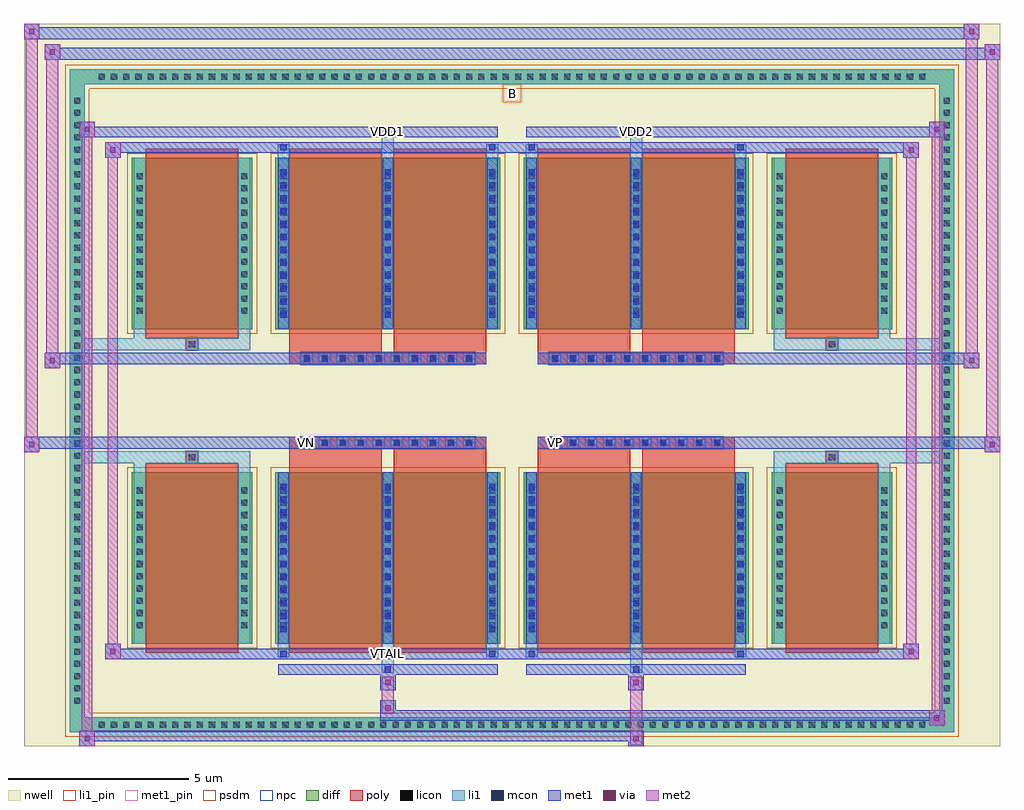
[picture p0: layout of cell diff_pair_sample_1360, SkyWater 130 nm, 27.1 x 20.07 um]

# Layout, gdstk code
import gdstk
lib = gdstk.Library(unit=1e-6, precision=5e-09)
def R(c, l, rs):  # rectangles x0, y0, x1, y1
    for r in rs: c.add(gdstk.rectangle(r[:2], r[2:], *l))
def A(c, l, x, y, w, h, nx, ny, dx, dy):  # array of equal rectangles
    R(c, l, [(x+i*dx, y+j*dy, x+i*dx+w, y+j*dy+h) for i in range(nx) for j in range(ny)])
def P(c, l, *ps):  # polygons
    for p in ps: c.add(gdstk.Polygon(p, *l))
nwell = (64, 20)
diff = (65, 20)
poly = (66, 20)
licon = (66, 44)
li1_pin = (67, 16)
li1 = (67, 20)
mcon = (67, 44)
met1_pin = (68, 16)
met1 = (68, 20)
via = (68, 44)
met2 = (69, 20)
psdm = (94, 20)
npc = (95, 20)

diff_pair_sample_1360 = lib.new_cell('diff_pair_sample_1360')
R(diff_pair_sample_1360, nwell, [(-13.55,-9.6,13.55,10.47), (-10.87,-7.79,-0.01,-0.805), (0.01,-7.79,10.87,-0.805), (-10.87,0.805,-0.01,7.79), (0.01,0.805,10.87,7.79)])
A(diff_pair_sample_1360, diff, -11.595, -9.2, 0.41, 0.41, 68, 2, 0.34, 17.99)
A(diff_pair_sample_1360, diff, -12.28, -8.535, 0.41, 0.41, 1, 50, 0, 0.34)
A(diff_pair_sample_1360, diff, 11.87, -8.535, 0.41, 0.41, 1, 50, 0, 0.34)
R(diff_pair_sample_1360, diff, [(-11.595,-9.2,11.595,-8.79), (-12.28,-8.535,-11.87,8.535), (11.87,-8.535,12.28,8.535), (-10.56,-6.745,-7.21,-1.985), (-6.57,-6.745,-0.32,-1.985), (0.32,-6.745,6.57,-1.985), (7.21,-6.745,10.56,-1.985), (-10.56,1.985,-7.21,6.745), (-6.57,1.985,-0.32,6.745), (0.32,1.985,6.57,6.745), (7.21,1.985,10.56,6.745), (-11.595,8.79,11.595,9.2)])
P(diff_pair_sample_1360, diff, [(12.28,9.2),(-12.28,9.2),(-12.28,-8.79),(-11.87,-8.79),(-11.87,8.79),(11.87,8.79),(11.87,-8.79),(-11.87,-8.79),(-12.28,-8.79),(-12.28,-9.2),(12.28,-9.2)])
A(diff_pair_sample_1360, poly, -5.86, -1.335, 0.33, 0.33, 10, 2, 0.5, 2.34)
A(diff_pair_sample_1360, poly, 1.03, -1.335, 0.33, 0.33, 10, 2, 0.5, 2.34)
R(diff_pair_sample_1360, poly, [(-10.17,-6.995,-7.6,-1.735), (-6.18,-6.995,-3.61,-1.735), (-3.28,-6.995,-0.71,-1.735), (0.71,-6.995,3.28,-1.735), (3.61,-6.995,6.18,-1.735), (7.6,-6.995,10.17,-1.735), (-9.05,-1.735,-8.72,-1.405), (-9.05,-1.735,-8.72,-1.405), (-6.18,-1.735,-3.61,-1.335), (-3.28,-1.735,-0.71,-1.335), (0.71,-1.735,3.28,-1.335), (3.61,-1.735,6.18,-1.335), (8.72,-1.735,9.05,-1.405), (8.72,-1.735,9.05,-1.405), (-6.18,-1.335,-0.71,-1.005), (0.71,-1.335,6.18,-1.005), (-6.18,1.005,-0.71,1.335), (0.71,1.005,6.18,1.335), (-6.18,1.335,-3.61,1.735), (-3.28,1.335,-0.71,1.735), (0.71,1.335,3.28,1.735), (3.61,1.335,6.18,1.735), (-9.05,1.405,-8.72,1.735), (-9.05,1.405,-8.72,1.735), (8.72,1.405,9.05,1.735), (8.72,1.405,9.05,1.735), (-10.17,1.735,-7.6,6.995), (-6.18,1.735,-3.61,6.995), (-3.28,1.735,-0.71,6.995), (0.71,1.735,3.28,6.995), (3.61,1.735,6.18,6.995), (7.6,1.735,10.17,6.995)])
A(diff_pair_sample_1360, licon, -11.475, -9.08, 0.17, 0.17, 68, 2, 0.34, 17.99)
A(diff_pair_sample_1360, licon, -12.16, -8.415, 0.17, 0.17, 1, 50, 0, 0.34)
A(diff_pair_sample_1360, licon, 11.99, -8.415, 0.17, 0.17, 1, 50, 0, 0.34)
A(diff_pair_sample_1360, licon, -10.42, -6.32, 0.17, 0.17, 1, 12, 0, 0.34)
A(diff_pair_sample_1360, licon, -7.52, -6.32, 0.17, 0.17, 1, 12, 0, 0.34)
A(diff_pair_sample_1360, licon, -6.43, -6.32, 0.17, 0.17, 3, 12, 2.9, 0.34)
A(diff_pair_sample_1360, licon, 0.46, -6.32, 0.17, 0.17, 3, 12, 2.9, 0.34)
A(diff_pair_sample_1360, licon, 7.35, -6.32, 0.17, 0.17, 1, 12, 0, 0.34)
A(diff_pair_sample_1360, licon, 10.25, -6.32, 0.17, 0.17, 1, 12, 0, 0.34)
A(diff_pair_sample_1360, licon, -5.78, -1.255, 0.17, 0.17, 10, 2, 0.5, 2.34)
A(diff_pair_sample_1360, licon, 1.11, -1.255, 0.17, 0.17, 10, 2, 0.5, 2.34)
A(diff_pair_sample_1360, licon, -10.42, 2.41, 0.17, 0.17, 1, 12, 0, 0.34)
A(diff_pair_sample_1360, licon, -7.52, 2.41, 0.17, 0.17, 1, 12, 0, 0.34)
A(diff_pair_sample_1360, licon, -6.43, 2.41, 0.17, 0.17, 3, 12, 2.9, 0.34)
A(diff_pair_sample_1360, licon, 0.46, 2.41, 0.17, 0.17, 3, 12, 2.9, 0.34)
A(diff_pair_sample_1360, licon, 7.35, 2.41, 0.17, 0.17, 1, 12, 0, 0.34)
A(diff_pair_sample_1360, licon, 10.25, 2.41, 0.17, 0.17, 1, 12, 0, 0.34)
R(diff_pair_sample_1360, licon, [(-8.97,-1.655,-8.8,-1.485), (8.8,-1.655,8.97,-1.485), (-8.97,1.485,-8.8,1.655), (8.8,1.485,8.97,1.655)])
R(diff_pair_sample_1360, li1_pin, [(-0.25,8.29,0.25,8.79)])
A(diff_pair_sample_1360, li1, -11.555, -9.16, 0.33, 0.33, 68, 2, 0.34, 17.99)
A(diff_pair_sample_1360, li1, -12.24, -8.495, 0.33, 0.33, 1, 50, 0, 0.34)
A(diff_pair_sample_1360, li1, 11.91, -8.495, 0.33, 0.33, 1, 50, 0, 0.34)
A(diff_pair_sample_1360, li1, -6.51, -6.745, 0.33, 4.76, 3, 2, 2.9, 8.73)
A(diff_pair_sample_1360, li1, 0.38, -6.745, 0.33, 4.76, 3, 2, 2.9, 8.73)
A(diff_pair_sample_1360, li1, -6.43, -6.43, 0.17, 0.17, 3, 12, 2.9, 0.36)
A(diff_pair_sample_1360, li1, -6.43, -6.43, 0.17, 4.13, 3, 2, 2.9, 8.73)
A(diff_pair_sample_1360, li1, 0.46, -6.43, 0.17, 0.17, 3, 12, 2.9, 0.36)
A(diff_pair_sample_1360, li1, 0.46, -6.43, 0.17, 4.13, 3, 2, 2.9, 8.73)
A(diff_pair_sample_1360, li1, -10.5, -6.4, 0.33, 0.33, 1, 12, 0, 0.34)
A(diff_pair_sample_1360, li1, -7.6, -6.4, 0.33, 0.33, 1, 12, 0, 0.34)
A(diff_pair_sample_1360, li1, -6.51, -6.4, 0.33, 0.33, 3, 12, 2.9, 0.34)
A(diff_pair_sample_1360, li1, 0.38, -6.4, 0.33, 0.33, 3, 12, 2.9, 0.34)
A(diff_pair_sample_1360, li1, 7.27, -6.4, 0.33, 0.33, 1, 12, 0, 0.34)
A(diff_pair_sample_1360, li1, 10.17, -6.4, 0.33, 0.33, 1, 12, 0, 0.34)
A(diff_pair_sample_1360, li1, -5.86, -1.335, 0.33, 0.33, 10, 2, 0.5, 2.34)
A(diff_pair_sample_1360, li1, 1.03, -1.335, 0.33, 0.33, 10, 2, 0.5, 2.34)
A(diff_pair_sample_1360, li1, -6.43, 2.3, 0.17, 0.17, 3, 12, 2.9, 0.36)
A(diff_pair_sample_1360, li1, 0.46, 2.3, 0.17, 0.17, 3, 12, 2.9, 0.36)
A(diff_pair_sample_1360, li1, -10.5, 2.33, 0.33, 0.33, 1, 12, 0, 0.34)
A(diff_pair_sample_1360, li1, -7.6, 2.33, 0.33, 0.33, 1, 12, 0, 0.34)
A(diff_pair_sample_1360, li1, -6.51, 2.33, 0.33, 0.33, 3, 12, 2.9, 0.34)
A(diff_pair_sample_1360, li1, 0.38, 2.33, 0.33, 0.33, 3, 12, 2.9, 0.34)
A(diff_pair_sample_1360, li1, 7.27, 2.33, 0.33, 0.33, 1, 12, 0, 0.34)
A(diff_pair_sample_1360, li1, 10.17, 2.33, 0.33, 0.33, 1, 12, 0, 0.34)
R(diff_pair_sample_1360, li1, [(-12.28,-9.2,-11.87,-8.79), (-12.28,-9.2,-11.87,-8.79), (-11.87,-9.2,11.87,-8.79), (11.87,-9.2,12.28,-8.79), (11.87,-9.2,12.28,-8.79), (-12.28,-8.79,-11.87,8.79), (11.87,-8.79,12.28,8.79), (-3.61,-7.55,-3.28,-6.745), (-3.53,-7.55,-3.36,-7.38), (3.28,-7.55,3.61,-6.745), (3.36,-7.55,3.53,-7.38), (-6.51,-7.12,-6.18,-6.745), (-6.43,-7.12,-6.26,-6.95), (-0.71,-7.12,-0.38,-6.745), (-0.63,-7.12,-0.46,-6.95), (0.38,-7.12,0.71,-6.745), (0.46,-7.12,0.63,-6.95), (6.18,-7.12,6.51,-6.745), (6.26,-7.12,6.43,-6.95), (-10.5,-6.745,-10.17,-1.985), (-7.6,-6.745,-7.27,-1.985), (7.27,-6.745,7.6,-1.985), (10.17,-6.745,10.5,-1.985), (-10.5,-1.985,-10.17,-1.405), (-7.6,-1.985,-7.27,-1.405), (7.27,-1.985,7.6,-1.405), (10.17,-1.985,10.5,-1.405), (-12.28,-1.735,-9.05,-1.405), (-10.5,-1.735,-9.05,-1.405), (-9.05,-1.735,-8.72,-1.405), (-8.72,-1.735,-7.27,-1.405), (7.27,-1.735,8.72,-1.405), (8.72,-1.735,9.05,-1.405), (8.72,-1.735,12.28,-1.405), (9.05,-1.735,10.5,-1.405), (-12.28,1.405,-9.05,1.735), (-10.5,1.405,-9.05,1.735), (-10.5,1.405,-10.17,1.985), (-9.05,1.405,-8.72,1.735), (-8.72,1.405,-7.27,1.735), (-7.6,1.405,-7.27,1.985), (7.27,1.405,8.72,1.735), (7.27,1.405,7.6,1.985), (8.72,1.405,9.05,1.735), (8.72,1.405,12.28,1.735), (9.05,1.405,10.5,1.735), (10.17,1.405,10.5,1.985), (-10.5,1.985,-10.17,6.745), (-7.6,1.985,-7.27,6.745), (7.27,1.985,7.6,6.745), (10.17,1.985,10.5,6.745), (-6.51,6.745,-6.18,7.12), (-3.61,6.745,-3.28,7.55), (-0.71,6.745,-0.38,7.12), (0.38,6.745,0.71,7.12), (3.28,6.745,3.61,7.55), (6.18,6.745,6.51,7.12), (-6.43,6.95,-6.26,7.12), (-0.63,6.95,-0.46,7.12), (0.46,6.95,0.63,7.12), (6.26,6.95,6.43,7.12), (-3.53,7.38,-3.36,7.55), (3.36,7.38,3.53,7.55), (-12.28,8.79,-11.87,9.2), (-12.28,8.79,-11.87,9.2), (-11.87,8.79,11.87,9.2), (11.87,8.79,12.28,9.2), (11.87,8.79,12.28,9.2)])
A(diff_pair_sample_1360, mcon, -6.43, -6.43, 0.17, 0.17, 3, 12, 2.9, 0.36)
A(diff_pair_sample_1360, mcon, 0.46, -6.43, 0.17, 0.17, 3, 12, 2.9, 0.36)
A(diff_pair_sample_1360, mcon, -5.78, -1.255, 0.17, 0.17, 10, 2, 0.5, 2.34)
A(diff_pair_sample_1360, mcon, 1.11, -1.255, 0.17, 0.17, 10, 2, 0.5, 2.34)
A(diff_pair_sample_1360, mcon, -6.43, 2.3, 0.17, 0.17, 3, 12, 2.9, 0.36)
A(diff_pair_sample_1360, mcon, 0.46, 2.3, 0.17, 0.17, 3, 12, 2.9, 0.36)
R(diff_pair_sample_1360, mcon, [(-3.53,-7.55,-3.36,-7.38), (3.36,-7.55,3.53,-7.38), (-6.43,-7.12,-6.26,-6.95), (-0.63,-7.12,-0.46,-6.95), (0.46,-7.12,0.63,-6.95), (6.26,-7.12,6.43,-6.95), (-6.43,6.95,-6.26,7.12), (-0.63,6.95,-0.46,7.12), (0.46,6.95,0.63,7.12), (6.26,6.95,6.43,7.12), (-3.53,7.38,-3.36,7.55), (3.36,7.38,3.53,7.55)])
R(diff_pair_sample_1360, met1_pin, [(-3.58,-7.16,-3.31,-6.89), (-5.83,-1.295,-5.56,-1.025), (1.06,-1.295,1.33,-1.025), (-3.58,7.34,-3.31,7.61), (3.31,7.34,3.58,7.61)])
A(diff_pair_sample_1360, met1, -6.49, -6.745, 0.29, 4.76, 3, 2, 2.9, 8.73)
A(diff_pair_sample_1360, met1, 0.4, -6.745, 0.29, 4.76, 3, 2, 2.9, 8.73)
A(diff_pair_sample_1360, met1, -6.49, -6.49, 0.29, 0.29, 3, 12, 2.9, 0.36)
A(diff_pair_sample_1360, met1, 0.4, -6.49, 0.29, 0.29, 3, 12, 2.9, 0.36)
A(diff_pair_sample_1360, met1, -5.84, -1.315, 0.29, 0.29, 10, 2, 0.5, 2.34)
A(diff_pair_sample_1360, met1, 1.05, -1.315, 0.29, 0.29, 10, 2, 0.5, 2.34)
A(diff_pair_sample_1360, met1, -6.49, 2.24, 0.29, 0.29, 3, 12, 2.9, 0.36)
A(diff_pair_sample_1360, met1, 0.4, 2.24, 0.29, 0.29, 3, 12, 2.9, 0.36)
R(diff_pair_sample_1360, met1, [(-12.01,-9.6,-11.58,-9.17), (3.23,-9.6,3.66,-9.17), (-12.01,-9.46,3.66,-9.17), (11.58,-9.03,12.01,-8.6), (-3.66,-8.89,12.01,-8.6), (-3.66,-8.75,-3.23,-8.32), (-3.66,-8.04,-3.23,-7.61), (3.23,-8.04,3.66,-7.61), (-6.49,-7.61,-0.4,-7.32), (-3.59,-7.61,-3.3,-7.32), (0.4,-7.61,6.49,-7.32), (3.3,-7.61,3.59,-7.32), (-11.3,-7.18,-10.87,-6.75), (-11.3,-7.18,-6.49,-6.89), (-6.49,-7.18,-6.2,-6.89), (-6.49,-7.18,-0.4,-6.89), (-0.69,-7.18,-0.4,-6.89), (-0.4,-7.18,0.4,-6.89), (0.4,-7.18,0.69,-6.89), (0.4,-7.18,6.49,-6.89), (6.2,-7.18,6.49,-6.89), (6.49,-7.18,11.3,-6.89), (10.87,-7.18,11.3,-6.75), (-13.55,-1.435,-13.12,-1.005), (13.12,-1.435,13.55,-1.005), (-13.55,-1.335,-0.71,-1.005), (-6.18,-1.335,-0.71,-1.005), (0.71,-1.335,6.18,-1.005), (0.71,-1.335,13.55,-1.005), (-12.98,0.905,-12.55,1.335), (12.55,0.905,12.98,1.335), (-12.98,1.005,-6.18,1.335), (-6.18,1.005,-0.71,1.335), (0.71,1.005,6.18,1.335), (6.18,1.005,12.98,1.335), (-11.3,6.75,-10.87,7.18), (10.87,6.75,11.3,7.18), (-11.3,6.89,-6.49,7.18), (-6.49,6.89,-6.2,7.18), (-6.49,6.89,-0.4,7.18), (-0.69,6.89,-0.4,7.18), (-0.4,6.89,0.4,7.18), (0.4,6.89,0.69,7.18), (0.4,6.89,6.49,7.18), (6.2,6.89,6.49,7.18), (6.49,6.89,11.3,7.18), (-12.01,7.32,-11.58,7.75), (-12.01,7.32,-6.49,7.61), (-6.49,7.32,-0.4,7.61), (-3.59,7.32,-3.3,7.61), (0.4,7.32,6.49,7.61), (3.3,7.32,3.59,7.61), (6.49,7.32,12.01,7.61), (11.58,7.32,12.01,7.75), (-12.98,9.47,-12.55,9.9), (-12.98,9.47,-10.87,9.8), (-10.87,9.47,10.87,9.8), (10.87,9.47,13.55,9.8), (13.12,9.47,13.55,9.9), (-13.55,10.04,-13.12,10.47), (-13.55,10.04,-10.87,10.37), (-10.87,10.04,10.87,10.37), (10.87,10.04,12.98,10.37), (12.55,10.04,12.98,10.47)])
R(diff_pair_sample_1360, via, [(-11.87,-9.46,-11.72,-9.31), (3.37,-9.46,3.52,-9.31), (11.72,-8.89,11.87,-8.74), (-3.52,-8.61,-3.37,-8.46), (-3.52,-7.9,-3.37,-7.75), (3.37,-7.9,3.52,-7.75), (-11.16,-7.04,-11.01,-6.89), (11.01,-7.04,11.16,-6.89), (-13.41,-1.295,-13.26,-1.145), (13.26,-1.295,13.41,-1.145), (-12.84,1.045,-12.69,1.195), (12.69,1.045,12.84,1.195), (-11.16,6.89,-11.01,7.04), (11.01,6.89,11.16,7.04), (-11.87,7.46,-11.72,7.61), (11.72,7.46,11.87,7.61), (-12.84,9.61,-12.69,9.76), (13.26,9.61,13.41,9.76), (-13.41,10.18,-13.26,10.33), (12.69,10.18,12.84,10.33)])
R(diff_pair_sample_1360, met2, [(-12.01,-9.6,-11.58,-9.17), (-11.94,-9.6,-11.65,7.75), (-11.65,-9.6,-11.58,-9.17), (-11.96,-9.55,-11.63,-9.22), (3.28,-9.55,3.61,-9.22), (3.28,-9.22,3.61,-7.99), (11.58,-9.03,12.01,-8.6), (11.65,-9.03,11.94,7.75), (11.94,-9.03,12.01,-8.6), (11.63,-8.98,11.96,-8.65), (-3.61,-8.7,-3.28,-8.37), (-3.61,-8.37,-3.28,-7.99), (-3.61,-7.99,-3.28,-7.66), (3.28,-7.99,3.61,-7.66), (-11.3,-7.18,-10.87,-6.75), (-11.23,-7.18,-10.94,7.18), (-10.94,-7.18,-10.87,-6.75), (10.87,-7.18,11.3,-6.75), (10.94,-7.18,11.23,7.18), (11.23,-7.18,11.3,-6.75), (-11.25,-7.13,-10.92,-6.8), (10.92,-7.13,11.25,-6.8), (-13.55,-1.435,-13.12,-1.005), (-13.5,-1.435,-13.17,10.47), (-13.17,-1.435,-13.12,-1.005), (13.12,-1.435,13.55,-1.005), (13.17,-1.435,13.5,9.9), (13.5,-1.435,13.55,-1.005), (-13.5,-1.385,-13.17,-1.055), (13.17,-1.385,13.5,-1.055), (-12.98,0.905,-12.55,1.335), (-12.93,0.905,-12.6,9.9), (-12.6,0.905,-12.55,1.335), (12.55,0.905,12.98,1.335), (12.6,0.905,12.93,10.47), (12.93,0.905,12.98,1.335), (-12.93,0.955,-12.6,1.285), (12.6,0.955,12.93,1.285), (-11.3,6.75,-10.87,7.18), (-10.94,6.75,-10.87,7.18), (10.87,6.75,11.3,7.18), (11.23,6.75,11.3,7.18), (-11.25,6.8,-10.92,7.13), (10.92,6.8,11.25,7.13), (-12.01,7.32,-11.58,7.75), (-11.65,7.32,-11.58,7.75), (11.58,7.32,12.01,7.75), (11.94,7.32,12.01,7.75), (-11.96,7.37,-11.63,7.7), (11.63,7.37,11.96,7.7), (-12.98,9.47,-12.55,9.9), (-12.6,9.47,-12.55,9.9), (13.12,9.47,13.55,9.9), (13.5,9.47,13.55,9.9), (-12.93,9.52,-12.6,9.85), (13.17,9.52,13.5,9.85), (-13.55,10.04,-13.12,10.47), (-13.17,10.04,-13.12,10.47), (12.55,10.04,12.98,10.47), (12.93,10.04,12.98,10.47), (-13.5,10.09,-13.17,10.42), (12.6,10.09,12.93,10.42)])
R(diff_pair_sample_1360, psdm, [(-10.69,-6.875,-7.08,-1.855), (-6.7,-6.875,-0.19,-1.855), (0.19,-6.875,6.7,-1.855), (7.08,-6.875,10.69,-1.855), (-10.69,1.855,-7.08,6.875), (-6.7,1.855,-0.19,6.875), (0.19,1.855,6.7,6.875), (7.08,1.855,10.69,6.875)])
P(diff_pair_sample_1360, psdm, [(12.41,9.33),(-12.41,9.33),(-12.41,-8.66),(-11.74,-8.66),(-11.74,8.66),(11.74,8.66),(11.74,-8.66),(-11.74,-8.66),(-12.41,-8.66),(-12.41,-9.33),(12.41,-9.33)])
A(diff_pair_sample_1360, npc, -5.88, -1.355, 0.37, 0.37, 10, 2, 0.5, 2.34)
A(diff_pair_sample_1360, npc, 1.01, -1.355, 0.37, 0.37, 10, 2, 0.5, 2.34)
R(diff_pair_sample_1360, npc, [(-9.07,-1.755,-8.7,-1.385), (8.7,-1.755,9.07,-1.385), (-5.88,-1.355,-5.01,-0.985), (-5.88,-1.355,-5.01,-0.985), (-5.38,-1.355,-4.51,-0.985), (-5.38,-1.355,-4.51,-0.985), (-4.88,-1.355,-4.01,-0.985), (-4.88,-1.355,-4.01,-0.985), (-4.38,-1.355,-3.51,-0.985), (-4.38,-1.355,-3.51,-0.985), (-3.88,-1.355,-3.01,-0.985), (-3.88,-1.355,-3.01,-0.985), (-3.38,-1.355,-2.51,-0.985), (-3.38,-1.355,-2.51,-0.985), (-2.88,-1.355,-2.01,-0.985), (-2.88,-1.355,-2.01,-0.985), (-2.38,-1.355,-1.51,-0.985), (-2.38,-1.355,-1.51,-0.985), (-1.88,-1.355,-1.01,-0.985), (-1.88,-1.355,-1.01,-0.985), (1.01,-1.355,1.88,-0.985), (1.01,-1.355,1.88,-0.985), (1.51,-1.355,2.38,-0.985), (1.51,-1.355,2.38,-0.985), (2.01,-1.355,2.88,-0.985), (2.01,-1.355,2.88,-0.985), (2.51,-1.355,3.38,-0.985), (2.51,-1.355,3.38,-0.985), (3.01,-1.355,3.88,-0.985), (3.01,-1.355,3.88,-0.985), (3.51,-1.355,4.38,-0.985), (3.51,-1.355,4.38,-0.985), (4.01,-1.355,4.88,-0.985), (4.01,-1.355,4.88,-0.985), (4.51,-1.355,5.38,-0.985), (4.51,-1.355,5.38,-0.985), (5.01,-1.355,5.88,-0.985), (5.01,-1.355,5.88,-0.985), (-5.88,0.985,-5.01,1.355), (-5.88,0.985,-5.01,1.355), (-5.38,0.985,-4.51,1.355), (-5.38,0.985,-4.51,1.355), (-4.88,0.985,-4.01,1.355), (-4.88,0.985,-4.01,1.355), (-4.38,0.985,-3.51,1.355), (-4.38,0.985,-3.51,1.355), (-3.88,0.985,-3.01,1.355), (-3.88,0.985,-3.01,1.355), (-3.38,0.985,-2.51,1.355), (-3.38,0.985,-2.51,1.355), (-2.88,0.985,-2.01,1.355), (-2.88,0.985,-2.01,1.355), (-2.38,0.985,-1.51,1.355), (-2.38,0.985,-1.51,1.355), (-1.88,0.985,-1.01,1.355), (-1.88,0.985,-1.01,1.355), (1.01,0.985,1.88,1.355), (1.01,0.985,1.88,1.355), (1.51,0.985,2.38,1.355), (1.51,0.985,2.38,1.355), (2.01,0.985,2.88,1.355), (2.01,0.985,2.88,1.355), (2.51,0.985,3.38,1.355), (2.51,0.985,3.38,1.355), (3.01,0.985,3.88,1.355), (3.01,0.985,3.88,1.355), (3.51,0.985,4.38,1.355), (3.51,0.985,4.38,1.355), (4.01,0.985,4.88,1.355), (4.01,0.985,4.88,1.355), (4.51,0.985,5.38,1.355), (4.51,0.985,5.38,1.355), (5.01,0.985,5.88,1.355), (5.01,0.985,5.88,1.355), (-9.07,1.385,-8.7,1.755), (8.7,1.385,9.07,1.755)])
diff_pair_sample_1360.add(gdstk.Label('VTAIL', (-3.445,-7.025), layer=68, texttype=5))
diff_pair_sample_1360.add(gdstk.Label('VN', (-5.695,-1.16), layer=68, texttype=5))
diff_pair_sample_1360.add(gdstk.Label('VP', (1.195,-1.16), layer=68, texttype=5))
diff_pair_sample_1360.add(gdstk.Label('B', (0,8.54), layer=67, texttype=5))
diff_pair_sample_1360.add(gdstk.Label('VDD2', (3.445,7.475), layer=68, texttype=5))
diff_pair_sample_1360.add(gdstk.Label('VDD1', (-3.445,7.475), layer=68, texttype=5))

lib.write_gds('diff_pair_sample_1360.gds')
